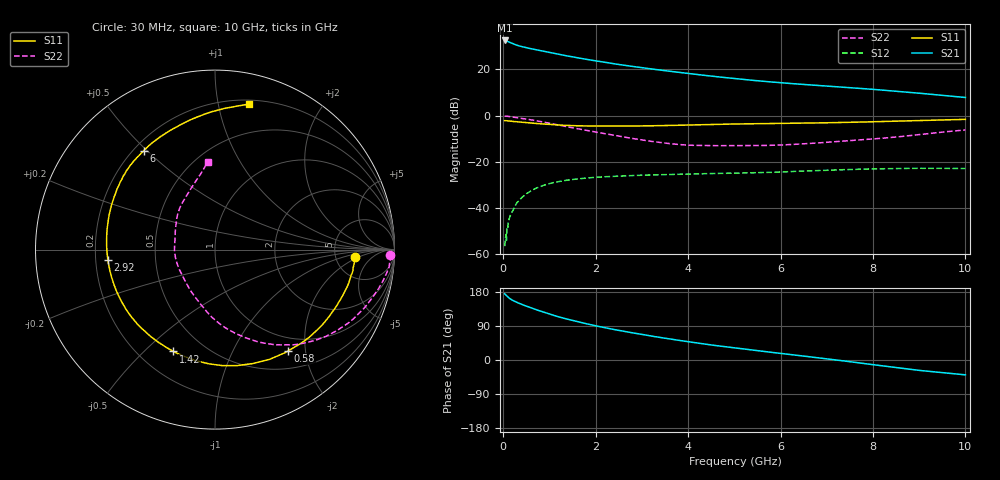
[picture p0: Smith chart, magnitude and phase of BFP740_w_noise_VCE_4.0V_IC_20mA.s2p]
! Infineon Technologies  Discrete & RF Semiconductors
! BFP740
! VCE =  4.0 V,  IC =  20 mA
! Common Emitter S-Parameters:  Jan 2016
# GHz  S  MA  R  50
!  f  S11  S21  S12  S22
! GHz  MAG  ANG  MAG  ANG  MAG  ANG  MAG  ANG
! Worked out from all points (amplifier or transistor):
!   229 points, 30 MHz to 10 GHz, reference 50 ohm
!   highest |S21| = 32.6 dB at 30 MHz (marker M1)
!   |S21| within 3 dB of that: start of sweep to 471.2 MHz
!   unconditionally stable (mu >= 1): 6.573 GHz to end of sweep
!   at 280 MHz: K = 0.28, MSG = 34.4 dB, |S12| = -38.2 dB
!   at 1.78 GHz: K = 0.44, MSG = 25.7 dB, |S12| = -27.0 dB
!   at 10 GHz: K = 1.01, MAG = 14.7 dB, |S12| = -22.9 dB
!   lowest NFmin = 0.68 dB at 450 MHz
!   S11 on the Smith chart (normalised r, x): 30 MHz: 7.80, -1.70; 580 MHz: 0.77, -1.69; 1.42 GHz: 0.34, -0.62; 2.92 GHz: 0.25, -0.05; 6 GHz: 0.24, +0.49; 10 GHz: 0.23, +1.24
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0.03  0.7819 -3.1  42.48 174.7  0.0015 71.1  0.977 -1.7
0.06  0.7784 -6.4  41.75 170.7  0.0027 54.2  0.9756 -4.2
0.12  0.7689 -12.8  39.49 164.1  0.0055 74.4  0.9623 -8.4
0.2  0.7542 -20.7  36.44 157.7  0.0085 76.4  0.937 -13.4
0.28  0.7404 -28.1  33.98 152.9  0.0123 73.2  0.9122 -17.8
0.36  0.7297 -35.2  32.03 148.8  0.0151 70.3  0.8892 -22.0
0.58  0.6962 -54.1  28.46 138.6  0.023 62.6  0.8212 -32.6
0.9  0.6581 -79.1  24.52 125.0  0.0318 51.7  0.7178 -46.6
1.16  0.6313 -96.7  21.72 115.3  0.037 44.5  0.6368 -56.4
1.42  0.613 -112.2  19.37 106.7  0.0406 38.8  0.5672 -65.0
1.7  0.602 -127.0  17.26 98.4  0.0438 33.8  0.5015 -73.2
1.94  0.5984 -138.1  15.73 91.9  0.046 30.3  0.4535 -80.1
2.22  0.5958 -150.0  14.16 84.7  0.0478 26.6  0.4048 -87.9
2.54  0.5958 -161.8  12.67 77.3  0.0495 23.3  0.3561 -96.2
2.92  0.5998 -174.4  11.21 69.1  0.0511 20.0  0.3067 -106.8
3.4  0.6094 171.6  9.701 59.5  0.0531 16.4  0.2628 -122.1
4.2  0.6342 152.3  7.775 44.8  0.0551 11.5  0.2277 -150.3
5.1  0.6626 136.7  6.228 30.4  0.0573 7.8  0.2251 -176.2
6  0.6786 125.8  5.172 17.5  0.0607 5.3  0.232 163.5
6.8  0.6979 116.3  4.512 6.0  0.0649 1.6  0.2568 148.0
8.4  0.7581 94.1  3.454 -18.5  0.0717 -8.8  0.3381 118.3
10  0.8326 76.7  2.477 -39.2  0.072 -18.0  0.4911 94.8
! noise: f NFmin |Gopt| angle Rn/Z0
0.45  0.68  0.07  3  0.22
0.9  0.68  0.08  19  0.21
1.5  0.71  0.08  38  0.21
1.9  0.73  0.08  49  0.2
2.4  0.76  0.08  60  0.19
3.5  0.86  0.08  134  0.18
5.5  1.03  0.18  -118  0.16
10  1.39  0.51  -67  0.23
